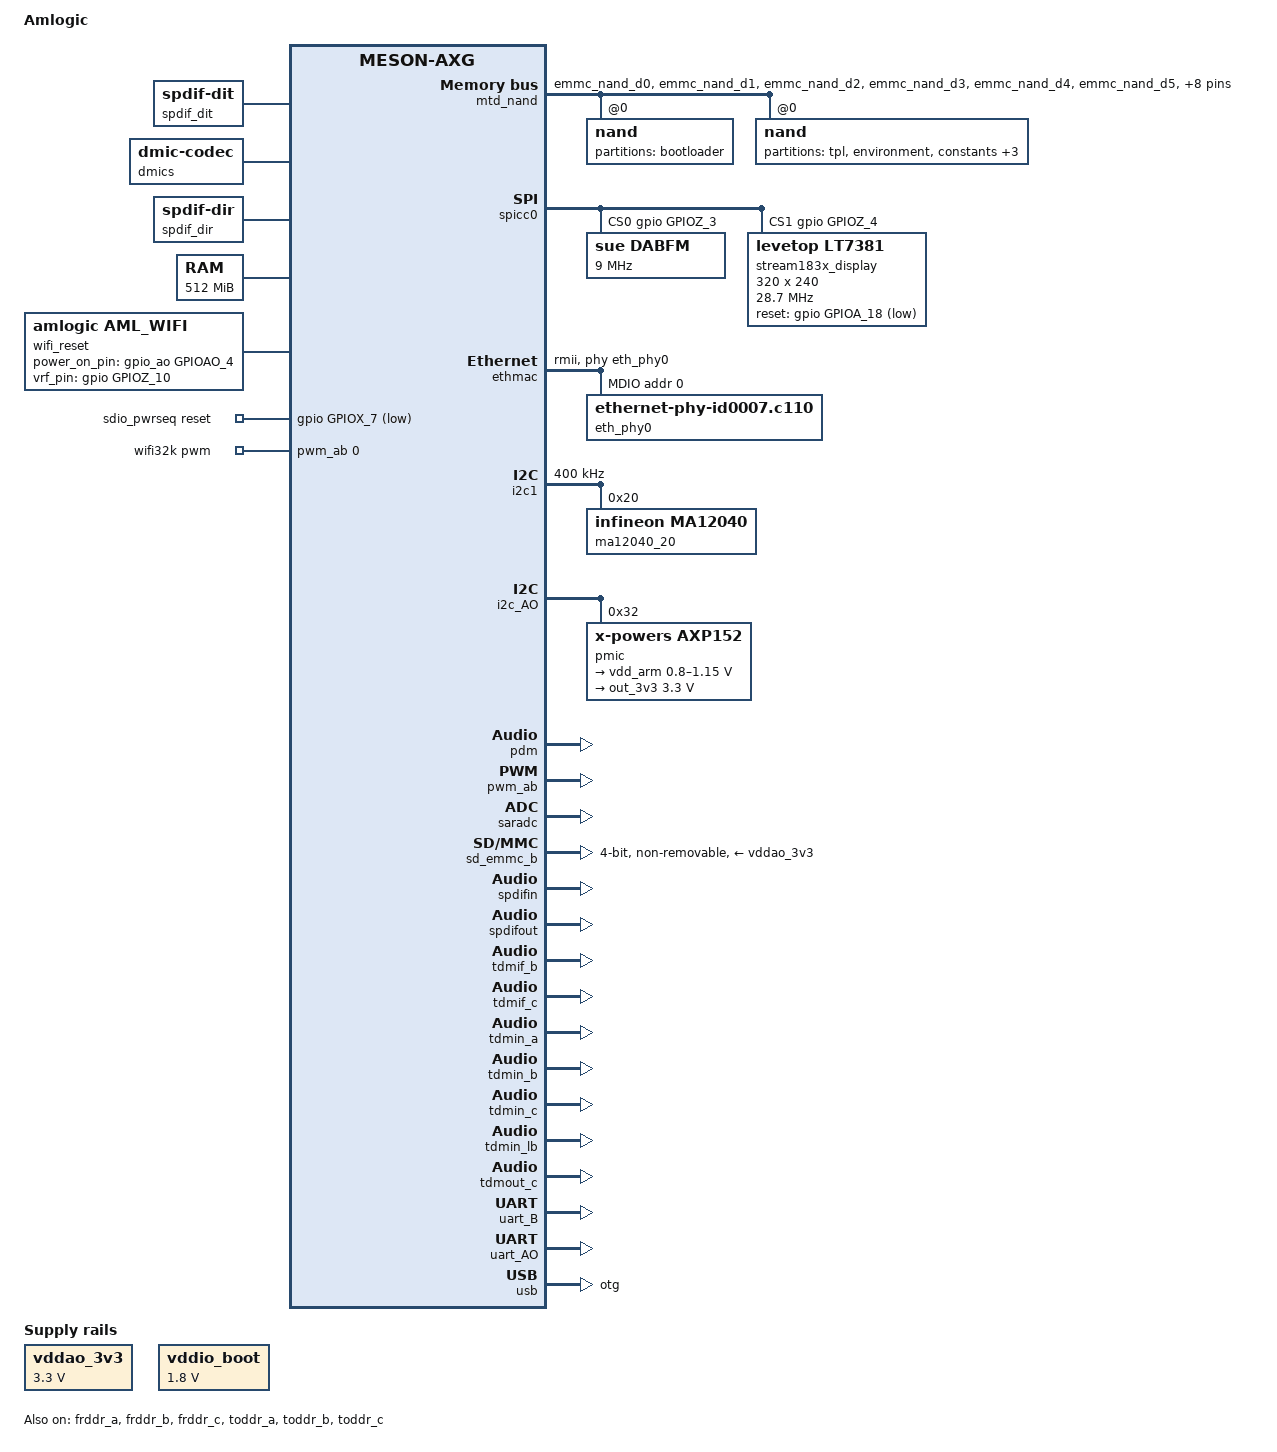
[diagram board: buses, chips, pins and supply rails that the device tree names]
// SPDX-License-Identifier: (GPL-2.0+ OR MIT)
/*
 * Copyright (c) 2017 Amlogic, Inc. All rights reserved.
 */

/dts-v1/;

#include "../amlogic/meson-axg.dtsi"
#include <dt-bindings/input/input.h>
#include <dt-bindings/thermal/thermal.h>

/ {
	compatible = "sue,stream1832", "amlogic,a113d", "amlogic,meson-axg";
	model = "Amlogic";

	sue {
		carrierboard = "streamkit1832";
		daughterboard = "dabfm";
	};

	aliases {
		serial0 = &uart_AO;
		serial1 = &uart_B;
		i2c0 = &i2c1;
		i2c1 = &i2c_AO;
	};

	cpu_opp_table: cpu_opp_table {
		compatible = "operating-points-v2";
		opp-shared;

		opp96MHz: opp@96000000 {
			opp-hz = /bits/ 64 <96000000>;
			opp-microvolt = <850000>;
			clock-latency-ns = <200>;
		};
		opp264MHz: opp@264000000 {
			opp-hz = /bits/ 64 <264000000>;
			opp-microvolt = <850000>;
			clock-latency-ns = <200>;
		};
		opp504MHz: opp@504000000 {
			opp-hz = /bits/ 64 <504000000>;
			opp-microvolt = <850000>;
			clock-latency-ns = <200>;
		};
		opp672MHz: opp@672000000 {
			opp-hz = /bits/ 64 <672000000>;
			opp-microvolt = <850000>;
			clock-latency-ns = <200>;
		};
		opp768MHz: opp@768000000 {
			opp-hz = /bits/ 64 <768000000>;
			opp-microvolt = <950000>;
			clock-latency-ns = <200>;
		};
		opp1_2GHz: opp@1176000000 {
			opp-hz = /bits/ 64 <1176000000>;
			opp-microvolt = <1050000>;
			clock-latency-ns = <200>;
			opp-workmode = <1>; /* 1: REGULATOR_MODE_FAST => PWM only mode on AXP152 */

			/*
			 * An operating point marked with opp-suspend will be set when the system
			 * goes to suspend *or* reboot *or* shutdown.
			 *
			 * For Stream1832 we want to set the AXP152 back to the 1.2 GHz voltage, otherwise
			 * the U-Boot will not be able to boot after a reboot since the vdd_arm voltage
			 * might be too low from a previous frequency change to a lower operating point.
			 */
			opp-suspend;
		};
		opp1_3GHz: opp@1344000000 {
			opp-hz = /bits/ 64 <1344000000>;
			opp-microvolt = <1075000>;
			clock-latency-ns = <200>;
			opp-workmode = <1>; /* 1: REGULATOR_MODE_FAST => PWM only mode on AXP152 */
		};

		/*
		 * The 1.5 GHz operating point is intentionally disabled since VDDCPU is above
		 * the recommended operating conditions.
		 */
		/*
		opp1_5GHz: opp@1512000000 {
			opp-hz = /bits/ 64 <1416000000>;
			opp-microvolt = <1150000>;
			clock-latency-ns = <200>;
			opp-workmode = <1>;
		};
		*/
	};

	thermal-zones {
		soc_thermal {
			polling-delay = <1000>;
			polling-delay-passive = <100>;

			thermal-sensors = <&scpi_sensors 0>;

			trips {
				passive: trip-point@0 {
					temperature = <90000>;
					hysteresis = <3000>;
					type = "passive";
				};
				critical: trip-point@1 {
					temperature = <110000>;
					hysteresis = <1000>;
					type = "critical";
				};
			};

			cooling-maps {
				cpufreq_cooling_map {
					trip = <&passive>;
					/* Corresponds to 768MHz in OPP table */
					cooling-device = <&cpu0 4 4>, <&cpu1 4 4>,
							<&cpu2 4 4>, <&cpu3 4 4>;
				};
			};
		};
	};

	vddao_3v3: regulator-vddao_3v3 {
		compatible = "regulator-fixed";
		regulator-name = "VDDAO_3V3";
		regulator-min-microvolt = <3300000>;
		regulator-max-microvolt = <3300000>;
		regulator-always-on;
	};

	vddio_boot: regulator-vddio_boot {
		compatible = "regulator-fixed";
		regulator-name = "VDDIO_BOOT";
		regulator-min-microvolt = <1800000>;
		regulator-max-microvolt = <1800000>;
		regulator-always-on;
	};

	// linein: audio-codec-0 {
	// 	#sound-dai-cells = <0>;
	// 	compatible = "linux,spdif-dir";
	// 	status = "okay";
	// 	sound-name-prefix = "Linein";
	// };

	// lineout: audio-codec-1 {
	// 	#sound-dai-cells = <0>;
	// 	compatible = "linux,spdif-dit";
	// 	status = "okay";
	// 	sound-name-prefix = "Lineout";
	// };
	spdif_dit: audio-codec-2 {
		#sound-dai-cells = <0>;
		compatible = "linux,spdif-dit";
		status = "okay";
		sound-name-prefix = "DIT";
	};

	dmics: audio-codec-3 {
		#sound-dai-cells = <0>;
		compatible = "dmic-codec";
		num-channels = <7>;
		wakeup-delay-ms = <50>;
		status = "okay";
		sound-name-prefix = "MIC";
	};

	dummy_codec:dummy{
		#sound-dai-cells = <0>;
		compatible = "meson,dummy-codec";
		playback-rates = <44100 48000 64000 88200 96000 176400 192000>;
		status = "okay";
		sound-name-prefix = "DUMMY";
	};

	spdif_dir: audio-codec-4 {
		#sound-dai-cells = <0>;
		compatible = "linux,spdif-dir";
		status = "okay";
		sound-name-prefix = "DIR";
	};

	chosen {
		stdout-path = "serial0:115200n8";
	};

	memory@00000000 {
		device_type = "memory";
		reg = <0x0 0x000000 0x0 0x20000000>;
		linux,usable-memory = <0x0 0x0000000 0x0 0x20000000>;
	};

	wifi_reset: wifi-reset {
		compatible = "amlogic, aml_wifi";
		status = "okay";

		power_on_pin = <&gpio_ao GPIOAO_4 GPIO_ACTIVE_HIGH>;
		vrf_pin = <&gpio GPIOZ_10 GPIO_OPEN_DRAIN>;
	};

	sdio_pwrseq: sdio-pwrseq {
		compatible = "mmc-pwrseq-simple";
		reset-gpios = <&gpio GPIOX_7 GPIO_ACTIVE_LOW>;
		clocks = <&wifi32k>;
		clock-names = "ext_clock";
	};

	firmware  {
		optee  {
			compatible = "linaro,optee-tz";
			method = "smc";
		};
	};

	secmon {
		compatible = "amlogic, secmon";
		memory-region = <&secmon_reserved>;
		in_base_func = <0x82000020>;
		out_base_func = <0x82000021>;
		reserve_mem_size = <0x00300000>;
	};

	reserved-memory {
		secos_reserved:linux,secos {
			status = "disable";
			compatible = "amlogic, aml_secos_memory";
			reg = <0x0 0x05300000 0x0 0x2000000>;
			no-map;
		};
		/delete-node/ secmon@5000000;
		secmon_reserved:linux,secmon {
			compatible = "shared-dma-pool";
			no-map;
			size = <0x0 0x400000>;
			alignment = <0x0 0x400000>;
			alloc-ranges = <0x0 0x05000000 0x0 0x400000>;
			reg = <0x0 0x05000000 0x0 0x1400000>;
		};
	};

	vrtc: rtc@0a8 {
		compatible = "amlogic,meson-vrtc";
		reg = <0x0 0x000a8 0x0 0x4>;
	};

	sound {
		compatible = "amlogic,axg-sound-card";
		model = "AXG-S400";
		audio-aux-devs = <&tdmin_b>, <&tdmin_c>, <&tdmout_c>;
				 		/* "sink", 		"source" */
		audio-routing = "TDM_C Playback", "TDMOUT_C OUT",
						"TDMOUT_C IN 1", "FRDDR_B OUT 2",
						"SPDIFOUT IN 2", "FRDDR_C OUT 3",
						"TODDR_C IN 3", "SPDIFIN Capture",
						"TDMIN_C IN 2", "TDM_C Capture",
						"TDMIN_C IN 5", "TDM_C Loopback",
						"TODDR_A IN 2", "TDMIN_C OUT",
						"TDMIN_B IN 1", "TDM_B Capture",
						"TODDR_B IN 1", "TDMIN_B OUT";
		// audio-widgets = "Line", "Lineout",
		// 		"Line", "Linein",
		// 		"Speaker", "Speaker1 Left",
		// 		"Speaker", "Speaker1 Right";
		// audio-routing = "TDMOUT_C IN 0", "FRDDR_A OUT 2",
		// 		"SPDIFOUT IN 0", "FRDDR_A OUT 3",
		// 		"TDMOUT_C IN 1", "FRDDR_B OUT 2",
		// 		"SPDIFOUT IN 1", "FRDDR_B OUT 3",
		// 		"TDMOUT_C IN 2", "FRDDR_C OUT 2",
		// 		"SPDIFOUT IN 2", "FRDDR_C OUT 3",
		// 		"TDM_C Playback", "TDMOUT_C OUT",
		// 		"TDMIN_A IN 2", "TDM_C Capture",
		// 		"TDMIN_A IN 5", "TDM_C Loopback",
		// 		"TDMIN_B IN 2", "TDM_C Capture",
		// 		"TDMIN_B IN 5", "TDM_C Loopback",
		// 		"TDMIN_C IN 2", "TDM_C Capture",
		// 		"TDMIN_C IN 5", "TDM_C Loopback",
		// 		"TDMIN_LB IN 2", "TDM_C Loopback",
		// 		"TDMIN_LB IN 5", "TDM_C Capture",
		// 		"TODDR_A IN 0", "TDMIN_A OUT",
		// 		"TODDR_B IN 0", "TDMIN_A OUT",
		// 		"TODDR_C IN 0", "TDMIN_A OUT",
		// 		"TODDR_A IN 1", "TDMIN_B OUT",
		// 		"TODDR_B IN 1", "TDMIN_B OUT",
		// 		"TODDR_C IN 1", "TDMIN_B OUT",
		// 		"TODDR_A IN 2", "TDMIN_C OUT",
		// 		"TODDR_B IN 2", "TDMIN_C OUT",
		// 		"TODDR_C IN 2", "TDMIN_C OUT",
		// 		"TODDR_A IN 3", "SPDIFIN Capture",
		// 		"TODDR_B IN 3", "SPDIFIN Capture",
		// 		"TODDR_C IN 3", "SPDIFIN Capture",
		// 		"TODDR_A IN 4", "PDM Capture",
		// 		"TODDR_B IN 4", "PDM Capture",
		// 		"TODDR_C IN 4", "PDM Capture",
		// 		"TODDR_A IN 6", "TDMIN_LB OUT",
		// 		"TODDR_B IN 6", "TDMIN_LB OUT",
		// 		"TODDR_C IN 6", "TDMIN_LB OUT",
		// 		// "Lineout", "Lineout AOUTL",
		// 		// "Lineout", "Lineout AOUTR",
		// 		"Speaker1 Left", "SPK1 LOUTL",
		// 		"Speaker1 Left", "SPK1 Left DAC",
		// 		"Speaker1 Right", "SPK1 LOUTR",
		// 		"Speaker1 Right", "SPK1 Right DAC";
		// 		// "Linein AINL", "Linein",
		// 		// "Linein AINR", "Linein";
		assigned-clocks = <&clkc CLKID_HIFI_PLL>,
				  <&clkc CLKID_MPLL0>,
				  <&clkc CLKID_MPLL1>;
		assigned-clock-parents = <0>, <0>, <0>;
		assigned-clock-rates = <491520000>,
				       <270950400>,
				       <393216000>;
		status = "okay";

		dai-link-0 {
			sound-dai = <&frddr_a>;
		};

		dai-link-1 {
			sound-dai = <&frddr_b>;
		};

		dai-link-2 {
			sound-dai = <&frddr_c>;
		};

		dai-link-3 {
			sound-dai = <&toddr_a>;
		};

		dai-link-4 {
			sound-dai = <&toddr_b>;
		};

		dai-link-5 {
			sound-dai = <&toddr_c>;
		};

		dai-link-6 {
			sound-dai = <&tdmif_c>;
			dai-format = "i2s";
			dai-tdm-slot-tx-mask-0 = <1 1>;
			dai-tdm-slot-rx-mask-1 = <1 1>;
			dai-tdm-slot-num = <2>;
			dai-tdm-slot-width = <32>;
			mclk-fs = <0>;
			continuous-clock;
			system-clock-frequency = <24576000>;
			// bitclock-master = <&tdmif_c>;
			// frame-master = <&tdmif_c>;

			// codec-0 {
			// 	use-dummy-codec;
			// 	//sound-dai = <&lineout>;
			// };

			codec-0 {
				//use-dummy-codec;
				//sound-dai = <&dummy_codec>;
				sound-dai = <&dummy_codec &ma12040_20>;
			};

			// codec-1 {
			// 	//use-dummy-codec;
			// 	sound-dai = <&dummy_codec>;
			// };

		};

		dai-link-7 {
			sound-dai = <&spdifout>;

			codec {
				sound-dai = <&spdif_dit>;
			};
		};

		dai-link-8 {
			sound-dai = <&spdifin>;

			codec {
				sound-dai = <&spdif_dir>;
			};
		};

		// dai-link-9 {
		// 	sound-dai = <&pdm>;

		// 	codec {
		// 		sound-dai = <&dmics>;
		// 	};
		// };
		dai-link-10 {
			sound-dai = <&tdmif_b>;
			dai-format = "i2s";
			dai-tdm-slot-rx-mask-0 = <1 1>;
			dai-tdm-slot-num = <2>;
			dai-tdm-slot-width = <32>;
			mclk-fs = <0>;

			codec {
				sound-dai = <&dummy_codec>;
			};
		};
	};

	wifi32k: wifi32k {
		compatible = "pwm-clock";
		#clock-cells = <0>;
		clock-frequency = <32768>;
		pwms = <&pwm_ab 0 30518 0>; /* PWM_A at 32.768KHz */
	};

	mtd_nand: nfc@0xFFE07800 {
		compatible = "amlogic,meson-nfc-single-ecc";
		status = "okay";
		reg = <0x0 0xFFE07800 0x0 0x200>;
		interrupts = <GIC_SPI 34 IRQ_TYPE_EDGE_RISING>;

		pinctrl-names = "nand_norb_mod", "nand_cs_only";
		pinctrl-0 = <&all_nand_pins>;
		pinctrl-1 = <&nand_cs_pins>;
		clocks = <&clkc CLKID_SD_EMMC_C>,
				<&clkc CLKID_FCLK_DIV2>;
		clock-names = "gate", "fdiv2pll";

		bl_mode = <1>;
		fip_copies = <4>;
		fip_size = <0x200000>;
		nand_clk_ctrl = <0xFFE07000>;
		ship_bad_block = <1>;
		disa_irq_flag = <1>;
		/*partions defined in dts*/
		nand@bootloader {
			reg = <0>;
			#address-cells = <1>;
			#size-cells = <1>;
			nand-ecc-maximize;
			partition@0 {
				label = "bootloader";
				reg = <0x0 0x0>;
			};
		};
		nand@normal {
			reg = <0>;
			#address-cells = <1>;
			#size-cells = <1>;
			nand-ecc-maximize;

			partition@0 {
				label = "tpl";
				reg = <0x1000000 0x800000>;
			};
			partition@1{
				label = "environment";
				reg = <0x0 0x80000>;
			};
			partition@2{
				label = "constants";
				reg = <0x0 0x80000>;
			};
			partition@3{
				label = "swufit";
				reg = <0x0 0x2000000>;
			};
			partition@4{
				label = "fit";
				reg = <0x0 0xC00000>;
			};
			partition@5{
				label = "data";
				reg = <0x0 0xffffffff>;
			};
		};
	};
};

&gpio_ao {
	sysfs-base = <497>;
	interrupt-parent = <&gpio_intc>;
};

&gpio {
	sysfs-base = <411>;
	interrupt-parent = <&gpio_intc>;
};

&cpu0 {
	cpu-supply = <&vdd_arm>;
	operating-points-v2 = <&cpu_opp_table>;
	#cooling-cells = <2>;
};

&cpu1 {
	operating-points-v2 = <&cpu_opp_table>;
	#cooling-cells = <2>;
};

&cpu2 {
	operating-points-v2 = <&cpu_opp_table>;
	#cooling-cells = <2>;
};

&cpu3 {
	operating-points-v2 = <&cpu_opp_table>;
	#cooling-cells = <2>;
};

&spicc0 {
	status = "okay";
	pinctrl-names= "default";
	pinctrl-0=<&spi0_pins>;
	num-cs = <2>;
	cs-gpios = <&gpio GPIOZ_3 GPIO_ACTIVE_HIGH>, <&gpio GPIOZ_4 GPIO_ACTIVE_HIGH>;
	dabfm: spi@0 {
		compatible = "sue,dabfm";
		status = "okay";
		reg = <0>;
		spi-max-frequency = <9000000>;
	};
	stream183x_display: spi@1 {
		compatible = "levetop,lt7381";
		status = "okay";
		reg = <1>;
		spi-max-frequency = <28700000>;
		spi-cpol;
		spi-cpha;
		buswidth = <8>;
		rotate = <0>;
		width = <320>;
		height = <240>;
		bgr;
		reset-gpios = <&gpio GPIOA_18 GPIO_ACTIVE_LOW>;
		debug = <0>;
		xtal-frequency = <10000000>;
	};
};

&stream183x_display {
	width = <320>;
	height = <240>;
	pwm-count = <1800>;
	backlight-max-brightness = <90>;
	backlight-default-brightness = <75>;

	display-timings {

		LQ035NC11: LQ035NC11 {
			clock-frequency = <13700000>;
			hactive = <320>;
			vactive = <240>;
			hback-porch = <38>;
			hsync-len = <30>;
			hfront-porch = <20>;
			vback-porch = <15>;
			vsync-len = <3>;
			vfront-porch = <4>;
			hsync-active = <0>;
			vsync-active = <0>;
			de-active = <1>;
			pixelclk-active = <0>;
		};

	};
};

&ethmac {
	status = "okay";
	pinctrl-0 = <&eth_rmii_x_pins>;
	pinctrl-names = "default";
	phy-handle = <&eth_phy0>;
	phy-mode = "rmii";

	mdio {
		compatible = "snps,dwmac-mdio";
		#address-cells = <1>;
		#size-cells = <0>;
		snps,reset-gpio = <&gpio_ao GPIOAO_7 GPIO_ACTIVE_LOW>;
		snps,reset-active-low = <1>;
		snps,reset-delays-us = <1000 10000 1000>;

		eth_phy0: ethernet-phy@0 {
			reg = <0>;
			interrupt-names = "macirq";
			compatible = "ethernet-phy-id0007.c110";
		};
	};
};

&frddr_a {
	status = "okay";
};

&frddr_b {
	status = "okay";
};

&frddr_c {
	status = "okay";
};

&i2c1 {
	status = "okay";
	pinctrl-0 = <&i2c1_z_pins>;
	pinctrl-names = "default";
	clock-frequency = <400000>;

	ma12040_20: ma12040@20 {
		compatible = "infineon,ma12040";
		#sound-dai-cells = <0>;
		reg = <0x20>;
		sound-name-prefix = "SPK1";
	};
};

&i2c_AO {
	status = "okay";
	pinctrl-0 = <&i2c_ao_sck_10_pins>, <&i2c_ao_sda_11_pins>;
	pinctrl-names = "default";

	pmic: axp152@32 {
		compatible = "x-powers,axp152";
		reg = <0x32>;
		no-irq;

		regulators {
			vdd_arm: dcdc2 {
				regulator-name = "vdd_arm";
				regulator-min-microvolt = <800000>;
				regulator-max-microvolt = <1150000>;
				regulator-boot-on;
				regulator-always-on;

				/*
				 * Allow the following workmodes (OR'ed together):
				 *   1: REGULATOR_MODE_FAST	=> PWM only mode
				 *   2: REGULATOR_MODE_NORMAL	=> Auto mode
				 */
				regulator-allowed-modes = <3>;
			};

			out_3v3: ldo0 {
				regulator-name = "3v3_out";
				regulator-min-microvolt = <3300000>;
				regulator-max-microvolt = <3300000>;
				regulator-boot-on;
				regulator-always-on;

				x-powers,disable-before-poweroff;

				regulator-state-mem {
					regulator-off-in-suspend;
				};
			};
		};
	};
};

&pdm {
	pinctrl-0 = <&pdm_dclk_a14_pins>, <&pdm_din0_pins>;
	pinctrl-names = "default";
	status = "okay";
	assigned-clocks = <&clkc_audio AUD_CLKID_PDM_DCLK_SEL>;
	assigned-clock-parents = <&clkc CLKID_HIFI_PLL>;
};

&pwm_ab {
	status = "okay";
	pinctrl-0 = <&pwm_a_x20_pins>;
	pinctrl-names = "default";
};

&saradc {
	status = "okay";
};

/* wifi module */
&sd_emmc_b {
	status = "okay";
	#address-cells = <1>;
	#size-cells = <0>;
	pinctrl-names = "default", "clk-gate";
	pinctrl-0 = <&sdio_pins>;
	pinctrl-1 = <&sdio_clk_gate_pins>;

	mmc-pwrseq = <&sdio_pwrseq>;
	vmmc-supply = <&vddao_3v3>;
	vqmmc-supply = <&vddio_boot>;

	bus-width = <4>;
	cap-sd-highspeed;
	cap-mmc-highspeed;
	max-frequency = <200000000>;
	non-removable;
	disable-wp;
	sd-uhs-sdr12;
	sd-uhs-sdr25;
	sd-uhs-sdr50;
	sd-uhs-sdr104;
	fixed-emmc-driver-type = <3>;
};

/* emmc storage */
&sd_emmc_c {
	status = "disabled";
};

&spdifin {
	pinctrl-0 = <&spdif_in_a19_pins>;
	pinctrl-names = "default";
	status = "okay";
};

&spdifout {
	pinctrl-0 = <&spdif_out_a20_pins>;
	pinctrl-names = "default";
	status = "okay";
};

&tdmif_a {
	pinctrl-0 = <&tdma_sclk_pins>, <&tdma_fs_pins>,
		    <&tdma_din0_pins>, <&tdma_dout0_x15_pins>;
	pinctrl-names = "default";
	status = "disabled";
};

&tdmif_b {
	pinctrl-0 = <&tdmb_sclk_pins>, <&tdmb_fs_pins>,
		    <&tdmb_din0_pins>;
	pinctrl-names = "default";
	status = "okay";

	assigned-clocks = <&clkc_audio AUD_CLKID_MST_B_MCLK_SEL>;
	assigned-clock-parents = <&clkc CLKID_HIFI_PLL>;
};

&tdmif_c {
	pinctrl-0 = <&tdmc_sclk_pins>, <&tdmc_fs_pins>,
		    <&tdmc_dout0_pins>, <&tdmc_din1_pins>,
		    <&mclk_c_pins>;
	pinctrl-names = "default";
	status = "okay";
	mute-gpios = <&gpio_ao GPIOAO_13 GPIO_ACTIVE_LOW>;
	enable-drift-compensator;

	assigned-clocks = <&clkc_audio AUD_CLKID_MST_C_MCLK_SEL>;
	assigned-clock-parents = <&clkc CLKID_HIFI_PLL>;
};

&tdmin_a {
	status = "okay";
};

&tdmin_b {
	status = "okay";
};

&tdmin_c {
	status = "okay";
};

&tdmin_lb {
	status = "okay";
};

&tdmout_c {
	status = "okay";
};

&toddr_a {
	status = "okay";
};

&toddr_b {
	status = "okay";
};

&toddr_c {
	status = "okay";
};

&uart_B {
	status = "okay";
	pinctrl-0 = <&uart_b_x_pins>, <&uart_b_x_cts_rts_pins>;
	pinctrl-names = "default";
	uart-has-rtscts;
	fifo-size = <64>;
	clocks = <&clkc CLKID_CLK81>, <&clkc CLKID_UART1>, <&clkc CLKID_CLK81>;
	clock-names = "xtal", "pclk", "baud";
};

&uart_AO {
	status = "okay";
	pinctrl-0 = <&uart_ao_a_pins>;
	pinctrl-names = "default";
};

&usb {
	status = "okay";
	dr_mode = "otg";
};

&pinctrl_periphs {
	all_nand_pins: all_nand_pins {
		mux {
			groups =  "emmc_nand_d0",
				"emmc_nand_d1",
				"emmc_nand_d2",
				"emmc_nand_d3",
				"emmc_nand_d4",
				"emmc_nand_d5",
				"emmc_nand_d6",
				"emmc_nand_d7",
				"nand_ce0",
				"nand_ale",
				"nand_cle",
				"nand_wen_clk",
				"nand_ren_wr",
				"nand_rb0";
			function = "nand";
			input-enable;
		};
	};
	nand_cs_pins:nand_cs {
		mux {
			groups = "nand_ce0";
			function = "nand";
		};
	};
};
